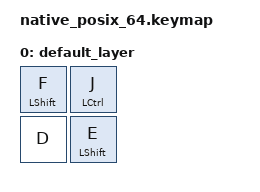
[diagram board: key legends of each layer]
#include <dt-bindings/zmk/keys.h>
#include <behaviors.dtsi>
#include <dt-bindings/zmk/kscan_mock.h>

/ {
    behaviors {
        lht_release: behavior_linger_hold_tap_on_release {
            compatible = "zmk,behavior-hold-tap";
            #binding-cells = <2>;
            flavor = "tap-preferred";
            tapping-term-ms = <300>;
            quick-tap-ms = <200>;
            bindings = <&kp>, <&kp>;
            hold-trigger-key-positions = <2>;
            hold-trigger-on-release;
        };
    };

    keymap {
        compatible = "zmk,keymap";
        default_layer {
            bindings = <
                &lht_release LSHIFT F &lht_release LCTRL J
                &kp D &mt LSHIFT E
            >;
        };
    };
};

&kscan {
    events = <
        ZMK_MOCK_PRESS(0, 0, 10)
        ZMK_MOCK_PRESS(0, 1, 10)
        ZMK_MOCK_PRESS(1, 0, 10)
        ZMK_MOCK_RELEASE(1, 0, 10)
        ZMK_MOCK_RELEASE(0, 1, 10)
        ZMK_MOCK_RELEASE(0, 0, 10)
    >;
};
